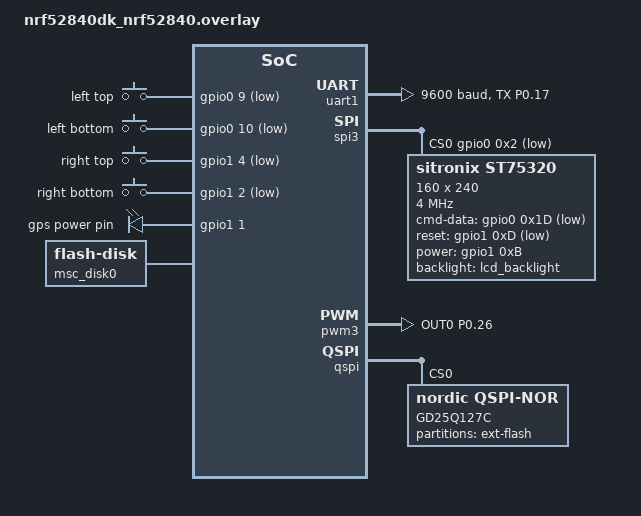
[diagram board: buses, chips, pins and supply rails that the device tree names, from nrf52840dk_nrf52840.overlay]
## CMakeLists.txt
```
# SPDX-License-Identifier: Apache-2.0

cmake_minimum_required(VERSION 3.13.1)

list(APPEND ZEPHYR_EXTRA_MODULES
	${CMAKE_CURRENT_SOURCE_DIR}/src/drivers/st75320
	${CMAKE_CURRENT_SOURCE_DIR}/src/drivers/poll_btns
)

find_package(Zephyr REQUIRED HINTS $ENV{ZEPHYR_BASE})
project(fw)

target_sources(app PRIVATE
	src/main.c
	src/draw_menu.c
	src/demo.c
	src/fw_upgrade.c
	src/decode_utils.c
)

add_custom_target(decode ALL
	COMMAND make
	WORKING_DIRECTORY ${CMAKE_CURRENT_SOURCE_DIR}/../../usbfw_decode
	COMMENT "Compiling usbfw_decode"
)

add_custom_target(jump ALL
	COMMAND CROSS_PREFIX=${CROSS_COMPILE} make
	WORKING_DIRECTORY ${CMAKE_CURRENT_SOURCE_DIR}/../jump
	COMMENT "Compiling jump"
)

add_custom_target(usb_fw ALL
	COMMAND ${CMAKE_CURRENT_SOURCE_DIR}/../../usbfw_decode/decode -e -i ${CMAKE_CURRENT_BINARY_DIR}/zephyr/zephyr.bin -o ${CMAKE_CURRENT_BINARY_DIR}/zephyr/zephyr.bin
	WORKING_DIRECTORY ${CMAKE_CURRENT_SOURCE_DIR}
	DEPENDS ${CMAKE_CURRENT_BINARY_DIR}/zephyr/zephyr.bin
	COMMENT "Making usb fw"
)

add_dependencies(usb_fw decode)
```

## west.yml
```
manifest:
  remotes:
    - name: nrfconnect
      url-base: https://github.com/nrfconnect

  # Please add items below based on alphabetical order.
  # These dependencies may need updating if new features are added to the firmware.
  projects:
    - name: sdk-nrf
      remote: nrfconnect
      revision: v2.4-branch
      path: nrf
      import: true
  self:
    path: fw
```

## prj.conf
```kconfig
CONFIG_LOG=y

CONFIG_USE_DT_CODE_PARTITION=y

CONFIG_GPIO=y

CONFIG_PINCTRL=y

CONFIG_HEAP_MEM_POOL_SIZE=16384
CONFIG_MAIN_STACK_SIZE=4096
CONFIG_MINIMAL_LIBC_MALLOC_ARENA_SIZE=4096

CONFIG_DISPLAY=y
CONFIG_DISPLAY_LOG_LEVEL_ERR=y

CONFIG_ST75320=y

# for backlight
CONFIG_PWM=y

# graphic lib
CONFIG_LVGL=y
CONFIG_LV_COLOR_DEPTH_1=y
#CONFIG_LVGL_LOG_LEVEL_ERR=y
#CONFIG_LVGL_DPI=60

#CONFIG_LVGL_USE_THEME_MONO=y

#CONFIG_LVGL_USE_LABEL=y
#CONFIG_LVGL_USE_CONT=y
#CONFIG_LVGL_USE_BTN=y
#CONFIG_LVGL_USE_PAGE=y
#CONFIG_LVGL_USE_LIST=y
#CONFIG_LVGL_USE_GROUP=y
###

CONFIG_POLL_BTNS=y

# disk
CONFIG_FLASH=y

CONFIG_DISK_DRIVERS=y
CONFIG_DISK_DRIVER_FLASH=y

CONFIG_FLASH_MAP=y
CONFIG_DISK_ACCESS=y
CONFIG_FILE_SYSTEM=y
CONFIG_FAT_FILESYSTEM_ELM=y
CONFIG_FS_FATFS_LFN=y

# Assume the standard SPI NOR flash driver.  If the device uses
# another driver add an override configuration in boards/.
CONFIG_NORDIC_QSPI_NOR=y
CONFIG_NORDIC_QSPI_NOR_FLASH_LAYOUT_PAGE_SIZE=4096
CONFIG_NORDIC_QSPI_NOR_STACK_WRITE_BUFFER_SIZE=16
###

#USB related configs
#CONFIG_USB=y
CONFIG_USB_DEVICE_STACK=y
CONFIG_USB_DEVICE_PRODUCT="Zephyr MSC sample"
CONFIG_USB_DRIVER_LOG_LEVEL_ERR=y
CONFIG_USB_MASS_STORAGE=y
CONFIG_USB_DEVICE_LOG_LEVEL_ERR=y
CONFIG_USB_MASS_STORAGE_LOG_LEVEL_ERR=y
CONFIG_MASS_STORAGE_DISK_NAME="NAND"
```

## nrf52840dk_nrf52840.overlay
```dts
/ {
	chosen {
		zephyr,display = &st75320;
	};

	buttons {
		compatible = "gpio-keys";
		btn0: key3 {
			gpios = <&gpio0 9 (GPIO_PULL_UP | GPIO_ACTIVE_LOW)>;
			label = "left top";
		};
		btn1: key1 {
			gpios = <&gpio0 10 (GPIO_PULL_UP | GPIO_ACTIVE_LOW)>;
			label = "left bottom";
		};
		btn2: key {
			gpios = <&gpio1 4 (GPIO_PULL_UP | GPIO_ACTIVE_LOW)>;
			label = "right top";
		};
		btn3: key4 {
			gpios = <&gpio1 2 (GPIO_PULL_UP | GPIO_ACTIVE_LOW)>;
			label = "right bottom";
		};
	};

	power_en_pins {
		compatible = "gpio-leds";
		gps_pwr: gps_pwr {
			gpios = <&gpio1 1 GPIO_ACTIVE_HIGH>;
			label = "gps power pin";
		};
	};

	pwmleds {
	/*	compatible = "pwm-leds";*/
		lcd_backlight: lcd_backlight {
			pwms = <&pwm3 0 PWM_HZ(10000) PWM_POLARITY_NORMAL>;
		};
	};

	aliases {
		/delete-property/ spi-flash0;
	};

	msc_disk0 {
		compatible = "zephyr,flash-disk";
		partition = <&ext_flash>;
		disk-name = "NAND";
		/* cache-size == page erase size */
		cache-size = <4096>;
	};


};

&pinctrl {
	uart0_default: uart0_default {
		group1 {
			psels = <NRF_PSEL(UART_TX, 1, 7)>;
		};
	};

	uart0_sleep: uart0_sleep {
		group1 {
			psels = <NRF_PSEL(UART_TX, 1, 7)>;
			low-power-enable;
		};
	};

	uart1_default: uart1_default {
		group1 {
			psels = <NRF_PSEL(UART_RX, 0, 15)>;
			psels = <NRF_PSEL(UART_TX, 0, 17)>;
		};
	};

	spi3_default: spi3_default {
		group1 {
			psels = <NRF_PSEL(SPIM_SCK, 1, 15)>,
				<NRF_PSEL(SPIM_MISO, 1, 14)>,
				<NRF_PSEL(SPIM_MOSI, 0, 31)>;
		};
	};

	spi3_sleep: spi3_sleep {
		group1 {
			psels = <NRF_PSEL(SPIM_SCK, 1, 15)>,
				<NRF_PSEL(SPIM_MISO, 1, 14)>,
				<NRF_PSEL(SPIM_MOSI, 1, 31)>;
			low-power-enable;
		};
	};

	pwm3_default: pwm3_default {
		group1 {
			psels = <NRF_PSEL(PWM_OUT0, 0, 26)>;
			nordic,invert;
		};
	};

	pwm3_sleep: pwm3_sleep {
		group1 {
			psels = <NRF_PSEL(PWM_OUT0, 0, 26)>;
			low-power-enable;
		};
	};

	qspi_default: qspi_default {
		group1 {
			psels = <NRF_PSEL(QSPI_SCK, 0, 0x14)>,

				<NRF_PSEL(QSPI_IO0, 0, 0x16)>,
				<NRF_PSEL(QSPI_IO1, 0, 0x18)>,
				<NRF_PSEL(QSPI_IO2, 0, 0x10)>,
				<NRF_PSEL(QSPI_IO3, 0, 0x17)>,

				<NRF_PSEL(QSPI_CSN, 1, 0)>;
		};
	};

	qspi_sleep: qspi_sleep {
		group1 {
			psels = <NRF_PSEL(QSPI_SCK, 0, 0x14)>,

				<NRF_PSEL(QSPI_IO0, 0, 0x16)>,
				<NRF_PSEL(QSPI_IO1, 0, 0x18)>,
				<NRF_PSEL(QSPI_IO2, 0, 0x10)>,
				<NRF_PSEL(QSPI_IO3, 0, 0x17)>;

			low-power-enable;
		};
		group2 {
			psels = <NRF_PSEL(QSPI_CSN, 1, 0)>;
			low-power-enable;
			bias-pull-up;
		};
	};
};

/*
&uart0 {
	compatible = "nordic,nrf-uart";
	current-speed = <115200>;
	status = "okay";
	tx-pin = <39>;
};
*/

&uart1 {
	compatible = "nordic,nrf-uarte";
	current-speed = <9600>;
	status = "okay";
	pinctrl-0 = <&uart1_default>;
};

&spi3 {
/*
	status = "okay";

	sck-pin = <0x2F>;
	miso-pin = <0xFF>;
	mosi-pin = <0x1F>;
*/

	cs-gpios = <&gpio0 0x2 GPIO_ACTIVE_LOW>;

	st75320: st75320@0 {
		compatible = "sitronix,st75320";
		label = "ST75320";
		spi-max-frequency = <4000000>;
		reg = <0>;

		cmd-data-gpios = <&gpio0 0x1D GPIO_ACTIVE_LOW>;
		reset-gpios = <&gpio1 0xD GPIO_ACTIVE_LOW>;
		power-gpios = <&gpio1 0xB GPIO_ACTIVE_HIGH>;

		backlight = <&lcd_backlight>;

		width = <160>;
		height = <240>;
		x-offset = <80>;
		y-offset = <0>;
	};
};

&pwm3 {
	status = "okay";
	pinctrl-0 = <&pwm3_default>;
	pinctrl-1 = <&pwm3_sleep>;
	pinctrl-names = "default", "sleep";
};

/*
&pwm3 {
	status = "okay";
	ch0-pin = <0x1A>;
};
*/

&qspi {
/*
	status = "okay";

	sck-pin = <0x14>;
	io-pins = <0x16>, <0x18>, <0x10>, <0x17>;
	csn-pins = <0x20>;
*/

	/delete-node/mx25r6435f@0;

	gd25q127c@0 {
		compatible = "nordic,qspi-nor";
		reg = <0>;
		writeoc = "pp4o";
		readoc = "read4io";
		sck-frequency = <8000000>;
		label = "GD25Q127C";
		jedec-id = [c8 40 18];

		sfdp-bfp = [
			e5 20 f1 ff  ff ff ff 07  44 eb 08 6b  08 3b 42 bb
			ee ff ff ff  ff ff 00 ff  ff ff 00 eb  0c 20 0f 52
			10 d8 00 ff
		];

		size = <0x8000000>; /* in bits */

		has-dpd;
		t-enter-dpd = <10000>;
		t-exit-dpd = <35000>;

		partitions {
			compatible = "fixed-partitions";
			#address-cells = <1>;
			#size-cells = <1>;

			ext_flash: partition@380000 {
				label = "ext-flash";
				reg = <0x00380000 0x00C80000>;
			};
		};
	};
};

&flash0 {
	partitions {
		/delete-node/partition@0;
		/delete-node/partition@c000;
		/delete-node/partition@73000;
		/delete-node/partition@82000;
		/delete-node/partition@da000;
		/delete-node/partition@f8000;

		partition@0 {
			label = "mbr";
			reg = < 0x0 0x1000 >;
		};
		partition@1000 {
			label = "softdevice";
			reg = < 0x1000 0x30000 >;
		};
		slot0_partition: partition@31000 {
			label = "image-0";
			reg = < 0x31000 0x62000 >;
		};
		storage_partition: partition@93000 {
			label = "storage";
			reg = < 0x93000 0x2000 >;
		};
		slot1_partition: partition@95000 {
			label = "image-1";
			reg = < 0x95000 0x62000 >;
		};
		partition@f7000 {
			label = "hw-ver";
			reg = < 0xf7000 0x1000 >;
		};
		boot_partition: partition@f8000 {
			label = "bootloader";
			reg = < 0xf8000 0x6000 >;
		};
		partition@fe000 {
			label = "boot-settings";
			reg = < 0xfe000 0x1000 >;
		};
		partition@ff000 {
			label = "boot-settings-backup";
			reg = < 0xff000 0x1000 >;
		};
	};
};
```

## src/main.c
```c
/*
 * Copyright (c) 2016 Intel Corporation
 *
 * SPDX-License-Identifier: Apache-2.0
 */

#include <string.h>

#include <zephyr/kernel.h>
#include <zephyr/drivers/gpio.h>
#include <zephyr/drivers/display.h>
#include <lvgl.h>



#define LOG_LEVEL /*CONFIG_LOG_DEFAULT_LEVEL*/5
#include <zephyr/logging/log.h>
LOG_MODULE_REGISTER(app);

#define PRIORITY 6

K_THREAD_STACK_DEFINE(gui_refresh_thread_stack_area, 8192);
static struct k_thread gui_refresh_thread_data;
K_MUTEX_DEFINE(lvgl_mutex); //lock when lv_ fuction called from other thread

void gui_refresh_thread(void *dummy1, void *dummy2, void *dummy3)
{
	ARG_UNUSED(dummy1);
	ARG_UNUSED(dummy2);
	ARG_UNUSED(dummy3);

	while (1) {
		k_mutex_lock(&lvgl_mutex, K_FOREVER);
		lv_task_handler();
		k_mutex_unlock(&lvgl_mutex);

		k_sleep(K_MSEC(10));
	}
}

lv_obj_t *upgr_lbl;
void uprg_progress(const char *text)
{
	k_mutex_lock(&lvgl_mutex, K_FOREVER);
	lv_label_set_text(upgr_lbl, text);
	k_mutex_unlock(&lvgl_mutex);
}

void main(void)
{
	LOG_INF("hello world");

	const struct device *display_dev;
	display_dev = DEVICE_DT_GET(DT_CHOSEN(zephyr_display));
	if (!device_is_ready(display_dev)) {
		LOG_ERR("Device not ready, aborting test");
		return;
	}

	display_blanking_off(display_dev);
	display_set_brightness(display_dev, 1 << 4); // 0-7 levels
	display_set_contrast(display_dev, 3 << 4); // 0-7 levels

	k_thread_create(&gui_refresh_thread_data, gui_refresh_thread_stack_area, K_THREAD_STACK_SIZEOF(gui_refresh_thread_stack_area),
				gui_refresh_thread, NULL, NULL, NULL, PRIORITY, 0, K_FOREVER);
	k_thread_name_set(&gui_refresh_thread_data, "gui_refresh");

	k_thread_start(&gui_refresh_thread_data);

	//extern void draw_menu(void);
	//draw_menu();

	// gps power en
	struct gpio_dt_spec gps_pwr = GPIO_DT_SPEC_GET_OR(DT_NODELABEL(gps_pwr), gpios, {0});
	gpio_pin_configure_dt(&gps_pwr, GPIO_OUTPUT_INACTIVE);
	gpio_pin_set_dt(&gps_pwr, 1);

	upgr_lbl = lv_label_create(lv_scr_act());
	lv_label_set_text(upgr_lbl, "hello world");
	//lv_obj_set_pos(upgr_lbl, 0, LV_VER_RES - 10);

	extern void fw_upgrade_task_start(void);
	fw_upgrade_task_start();


	//extern void start_demo(void);
	//start_demo();
}
```

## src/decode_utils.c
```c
../../../usbfw_decode/decode_utils.c
```

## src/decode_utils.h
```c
../../../usbfw_decode/decode_utils.h
```

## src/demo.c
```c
#include <zephyr/kernel.h>
#include <lvgl.h>

/* size of stack area used by each thread */
#define STACKSIZE 1024
/* scheduling priority used by each thread */
#define PRIORITY 7

K_THREAD_STACK_DEFINE(threadA_stack_area, STACKSIZE);
static struct k_thread threadA_data;

K_THREAD_STACK_DEFINE(threadB_stack_area, STACKSIZE);
static struct k_thread threadB_data;

void label_move(char *text, lv_coord_t sx, lv_coord_t sy, int8_t sdx, int8_t sdy, uint32_t sleep_time)
{
	lv_coord_t x = sx;
	lv_coord_t y = sy;

	int8_t dx = sdx;
	int8_t dy = sdy;

	lv_obj_t *label = lv_label_create(lv_scr_act());
	lv_label_set_text(label, text);

	while (1) {

		lv_obj_set_pos(label, x, y);

		if ((int16_t)x + dx < 0 || (int16_t)x + dx > (LV_HOR_RES - lv_obj_get_width(label)))
			dx = -dx;
		if ((int16_t)y + dy < 0 || (int16_t)y + dy > (LV_VER_RES - lv_obj_get_height(label)))
			dy = -dy;

		x += dx;
		y += dy;

		k_sleep(K_MSEC(sleep_time));
	}
}

void threadA(void *dummy1, void *dummy2, void *dummy3)
{
	ARG_UNUSED(dummy1);
	ARG_UNUSED(dummy2);
	ARG_UNUSED(dummy3);

	label_move("hello", 0, 0, 1, 1, 150);
}

void threadB(void *dummy1, void *dummy2, void *dummy3)
{
	ARG_UNUSED(dummy1);
	ARG_UNUSED(dummy2);
	ARG_UNUSED(dummy3);

	label_move("world", 0, 200, -1, -1, 150);
}

void start_demo(void)
{
	k_thread_create(&threadA_data, threadA_stack_area, K_THREAD_STACK_SIZEOF(threadA_stack_area), threadA, NULL, NULL, NULL, PRIORITY, 0, K_FOREVER);
	k_thread_name_set(&threadA_data, "thread_a");

	k_thread_create(&threadB_data, threadB_stack_area, K_THREAD_STACK_SIZEOF(threadB_stack_area), threadB, NULL, NULL, NULL, PRIORITY, 0, K_FOREVER);
	k_thread_name_set(&threadB_data, "thread_b");

	k_thread_start(&threadA_data);
	k_thread_start(&threadB_data);
}
```

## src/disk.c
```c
#include <zephyr.h>
#include <devicetree.h>
#include <logging/log.h>
#include <fs/fs.h>
#include <storage/flash_map.h>
#include <ff.h>

LOG_MODULE_REGISTER(setup_disk, CONFIG_FS_LOG_LEVEL);

static struct fs_mount_t fs_mnt;

static int setup_flash(struct fs_mount_t *mnt)
{
	int rc = 0;
	unsigned int id;
	const struct flash_area *pfa;

	mnt->storage_dev = (void *)FLASH_AREA_ID(ext_flash);
	id = (uintptr_t)mnt->storage_dev;

	rc = flash_area_open(id, &pfa);
	LOG_INF("area %u at 0x%x on %s for %u bytes",
		id,
		(unsigned int)pfa->fa_off,
		pfa->fa_dev_name,
		(unsigned int)pfa->fa_size);

	if (rc < 0)
		flash_area_close(pfa);

	return rc;
}

static int mount_app_fs(struct fs_mount_t *mnt)
{
	int rc;

	static FATFS fat_fs;

	mnt->type = FS_FATFS;
	mnt->fs_data = &fat_fs;
	mnt->mnt_point = "/NAND:";

	rc = fs_mount(mnt);

	return rc;
}

void setup_disk(void)
{
	struct fs_mount_t *mp = &fs_mnt;
	struct fs_dir_t dir;
	struct fs_statvfs sbuf;
	int rc;

	fs_dir_t_init(&dir);

	rc = setup_flash(mp);
	if (rc < 0) {
		LOG_ERR("Failed to setup flash area");
		return;
	}

	rc = mount_app_fs(mp);
	if (rc < 0) {
		LOG_ERR("Failed to mount filesystem");
		return;
	}

	/* Allow log messages to flush to avoid interleaved output */
	k_sleep(K_MSEC(50));

	LOG_INF("Mount \"%s\": %d", fs_mnt.mnt_point, rc);

	rc = fs_statvfs(mp->mnt_point, &sbuf);
	if (rc < 0) {
		LOG_ERR("FAIL: statvfs: %d\n", rc);
		return;
	}

	LOG_INF("\"%s\": bsize = %lu ; frsize = %lu ; blocks = %lu ; bfree = %lu",
		mp->mnt_point,
		sbuf.f_bsize, sbuf.f_frsize,
		sbuf.f_blocks, sbuf.f_bfree);




	rc = fs_opendir(&dir, mp->mnt_point);
	printk("%s opendir: %d\n", mp->mnt_point, rc);

	if (rc < 0)
		LOG_ERR("Failed to open directory");

	while (rc >= 0) {
		struct fs_dirent ent = { 0 };

		rc = fs_readdir(&dir, &ent);
		if (rc < 0) {
			LOG_ERR("Failed to read directory entries");
			break;
		}
		if (ent.name[0] == 0) {
			printk("End of files\n");
			break;
		}
		printk("  %c %u %s\n",
		       (ent.type == FS_DIR_ENTRY_FILE) ? 'F' : 'D',
		       ent.size,
		       ent.name);
	}

	(void)fs_closedir(&dir);

	return;
}
```

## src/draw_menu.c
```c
#include <zephyr/kernel.h>
#include <zephyr/device.h> // device_get_binding()
#include <lvgl.h>

#define LOG_LEVEL CONFIG_LOG_DEFAULT_LEVEL
#include <zephyr/logging/log.h>
LOG_MODULE_REGISTER(menu);

const char *items[] = {
	"item1",
	"item2",
	"item3",
	"item4",
	"item5",
	"item6",
};

static lv_style_t menu_btn_style;

void menu_btn_event_cb(lv_obj_t * obj, lv_event_t event)
{
	if (event.code == LV_EVENT_PRESSED)
		LOG_INF("btn event pressed");
}

void draw_menu(void)
{
	lv_obj_t *list = lv_list_create(lv_scr_act());
	lv_obj_set_width(list, LV_HOR_RES);
	lv_obj_set_height(list, LV_VER_RES - 20);

	lv_group_t * group = lv_group_create();
	lv_group_add_obj(group, list);

	const struct device *poll_btn_dev = device_get_binding("POLL_BTNS");
	lv_indev_t *indev = (lv_indev_t *)*(size_t *)(poll_btn_dev->data);
	lv_indev_set_group(indev, group);

	lv_style_init(&menu_btn_style);
	lv_style_set_border_width(&menu_btn_style, 0); //???

	lv_style_set_border_width(&menu_btn_style, 1); //???
	lv_style_set_border_side(&menu_btn_style, LV_BORDER_SIDE_FULL);

	lv_style_set_text_decor(&menu_btn_style, LV_TEXT_DECOR_NONE);

	for (unsigned int i = 0; i < ARRAY_SIZE(items); i++) {
		lv_obj_t *btn = lv_list_add_btn(list, NULL, items[i]);
		lv_obj_add_style(btn, LV_PART_MAIN, &menu_btn_style);

		//lv_obj_set_event_cb(btn, menu_btn_event_cb); //???
	}
}
```

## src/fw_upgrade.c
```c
#include <stdio.h>
#include <stdlib.h>
#include <zephyr/kernel.h>
#include <zephyr/logging/log.h>
#include <zephyr/storage/flash_map.h>
#include <zephyr/usb/usb_device.h>
#include <ff.h>
#include <zephyr/fs/fs.h>
//#include <sys/crc.h> todo: need to use system crc func
#include <zephyr/sys/reboot.h>

extern void uprg_progress(const char *text);

#include "decode_utils.h"
#include "nrf_dfu_types.h"

LOG_MODULE_REGISTER(fw_upgrade, CONFIG_FS_LOG_LEVEL);

#define UPGR_DIR "Upgrade"
#define UPGR_FILE_SIGN "BC200_Upgrade"

#define PRIORITY 7

K_THREAD_STACK_DEFINE(fw_upgrade_thread_stack_area, 4096);
static struct k_thread fw_upgrade_thread_data;
static k_tid_t fw_upgrade_tid;
static struct fs_mount_t fs_mnt;

static uint32_t crc32_compute(uint8_t const * p_data, uint32_t size, uint32_t const * p_crc)
{
	uint32_t crc;

	crc = (p_crc == NULL) ? 0xFFFFFFFF : ~(*p_crc);
	for (uint32_t i = 0; i < size; i++)
	{
		crc = crc ^ p_data[i];
		for (uint32_t j = 8; j > 0; j--)
		{
			crc = (crc >> 1) ^ (0xEDB88320U & ((crc & 1) ? 0xFFFFFFFF : 0));
		}
	}
	return ~crc;
}

static int setup_flash(struct fs_mount_t *mnt)
{
	mnt->storage_dev = (void *)FLASH_AREA_ID(ext_flash);

#if 0
	//check partition, may be not needed

	int rc = 0;
	unsigned int id;
	const struct flash_area *pfa;

	id = (uintptr_t)mnt->storage_dev;

	rc = flash_area_open(id, &pfa);
	LOG_INF("area %u at 0x%x on %s for %u bytes",
		id,
		(unsigned int)pfa->fa_off,
		pfa->fa_dev_name,
		(unsigned int)pfa->fa_size);

	if (rc < 0)
		flash_area_close(pfa);
#endif

	return 0;
}

static void fs_init(struct fs_mount_t *mnt)
{
	static FATFS fat_fs;

	mnt->type = FS_FATFS;
	mnt->fs_data = &fat_fs;
	mnt->mnt_point = "/NAND:";
}

static int upgrade(const char *file)
{
	int ret;
	uint8_t buf[ENCODED_BLOCK_SIZE];

	// encode fw and copy it to bank_1
	unsigned short diff = START_DIFF;

	struct fs_file_t f;
	fs_file_t_init(&f);

	ret = fs_open(&f, file, FS_O_READ);
	if (ret < 0)
		return -1;

	const struct flash_area *img1_fa;
	flash_area_open(FLASH_AREA_ID(image_1), &img1_fa);

	flash_area_erase(img1_fa, 0, img1_fa->fa_size);

	ssize_t target_file_len = 0;
	uint32_t crc32 = 0;

	ssize_t len;
	while ((len = fs_read(&f, buf, ENCODED_BLOCK_SIZE)) > 0) {
		decode_block(&diff, buf, len);

		flash_area_write(img1_fa, target_file_len, buf, len - 4);

		target_file_len += len - 4; // 4 - block cksum

		crc32 = crc32_compute(buf, len - 4, &crc32);

		char uprg_buf[64];
		sprintf(uprg_buf, "Loading %zu bytes\n", target_file_len);
		uprg_progress(uprg_buf);
	}

	flash_area_close(img1_fa);
	fs_close(&f);

	// calc all crc
	const struct flash_area *bs_fa;
	flash_area_open(FLASH_AREA_ID(boot_settings), &bs_fa);

	nrf_dfu_settings_t bs;
	flash_area_read(bs_fa, 0, &bs, sizeof(nrf_dfu_settings_t));

	bs.bank_1.image_size = target_file_len;
	bs.bank_1.image_crc = crc32;
	bs.bank_1.bank_code = NRF_DFU_BANK_VALID_APP;
	bs.crc = crc32_compute((uint8_t *)&bs + 4, DFU_SETTINGS_INIT_COMMAND_OFFSET - 4, NULL);

	bs.boot_validation_app.type = VALIDATE_CRC;
	*(uint32_t *)&bs.boot_validation_app.bytes = crc32;
	bs.boot_validation_crc = crc32_compute((const uint8_t *)&bs.boot_validation_softdevice,
											DFU_SETTINGS_BOOT_VALIDATION_SIZE - 4, NULL);

	flash_area_erase(bs_fa, 0, bs_fa->fa_size);
	flash_area_write(bs_fa, 0, &bs, sizeof(nrf_dfu_settings_t));

	flash_area_close(bs_fa);

	return 0;
}

char *find_upgrade_file(struct fs_mount_t *mnt)
{
	int ret;

	struct fs_dir_t dir;
	fs_dir_t_init(&dir);

	char buf[MAX_FILE_NAME];
	sprintf(buf, "%s/"UPGR_DIR,  mnt->mnt_point);

	ret = fs_opendir(&dir, buf);
	if (ret < 0)
		LOG_ERR("Failed to open directory");

	struct fs_dirent ent = { 0 };

	while (ret >= 0) {
		ret = fs_readdir(&dir, &ent);
		if (ret < 0) {
			LOG_ERR("Failed to read directory entries");
			break;
		}
		if (ent.name[0] == 0)
			break;
		if (strstr(ent.name, UPGR_FILE_SIGN) && ent.type == FS_DIR_ENTRY_FILE)
			break;
	}

	char *file = NULL;
	if (*ent.name) {
		file = malloc(strlen(mnt->mnt_point) + strlen(UPGR_DIR) + strlen(ent.name) + 2 + 1);
		sprintf(file, "%s/"UPGR_DIR"/%s", mnt->mnt_point, ent.name);
	}

	fs_closedir(&dir);

	return file;
}

static int check_upgrade(void)
{
	int ret;

	ret = fs_mount(&fs_mnt);
	if (ret < 0) {
		LOG_ERR("Failed to mount filesystem");
		return -1;
	}

	ret = -1;
	char *f = find_upgrade_file(&fs_mnt);
	if (f) {
		LOG_INF("upgrade file: %s", f);

		ret = upgrade(f);
		if (ret == 0)
			fs_unlink(f);

		free(f);
	}

	fs_unmount(&fs_mnt);

	return ret;
}

static void usb_status_cb(enum usb_dc_status_code cb_status, const uint8_t *param)
{
	switch (cb_status) {
		case USB_DC_DISCONNECTED:
			LOG_INF("USB device disconnected");
			uprg_progress("USB disconnected");

			k_wakeup(fw_upgrade_tid);
		break;
		case USB_DC_CONNECTED:
			LOG_INF("USB device connected!!!");
			uprg_progress("USB connected!\n");
		break;
		default:
		break;
	}
}

#if 0
void setup_disk(void)
{
	struct fs_mount_t *mp = &fs_mnt;
	struct fs_statvfs sbuf;
	int rc;

	rc = setup_flash(mp);
	if (rc < 0) {
		LOG_ERR("Failed to setup flash area");
		return;
	}

	/* Allow log messages to flush to avoid interleaved output */
	k_sleep(K_MSEC(50));

	LOG_INF("Mount \"%s\": %d", fs_mnt.mnt_point, rc);

	rc = fs_statvfs(mp->mnt_point, &sbuf);
	if (rc < 0) {
		LOG_ERR("FAIL: statvfs: %d\n", rc);
		return;
	}

	LOG_INF("\"%s\": bsize = %lu ; frsize = %lu ; blocks = %lu ; bfree = %lu",
		mp->mnt_point,
		sbuf.f_bsize, sbuf.f_frsize,
		sbuf.f_blocks, sbuf.f_bfree);

	return;
}
#endif


void fw_upgrade_thread(void *dummy1, void *dummy2, void *dummy3)
{
	ARG_UNUSED(dummy1);
	ARG_UNUSED(dummy2);
	ARG_UNUSED(dummy3);

	int ret;

	ret = setup_flash(&fs_mnt);
	if (ret < 0) {
		LOG_ERR("Failed to setup flash area");
		return;
	}

	ret = usb_enable(usb_status_cb);
	if (ret != 0) {
		LOG_ERR("Failed to enable USB");
		return;
	}

	LOG_INF("The device is put in USB mass storage mode.");

	fs_init(&fs_mnt);

	while (1) {
		k_sleep(K_FOREVER);

		if (check_upgrade() == 0) {
			printk("reboot\n");
			sys_reboot(SYS_REBOOT_WARM);
		}
	}
}

void fw_upgrade_task_start(void)
{
	fw_upgrade_tid = k_thread_create(&fw_upgrade_thread_data, fw_upgrade_thread_stack_area, K_THREAD_STACK_SIZEOF(fw_upgrade_thread_stack_area),
				fw_upgrade_thread, NULL, NULL, NULL, PRIORITY, 0, K_FOREVER);
	k_thread_name_set(&fw_upgrade_thread_data, "fw_upgrade");

	k_thread_start(&fw_upgrade_thread_data);
}
```

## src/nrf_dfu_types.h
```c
/**
 * Copyright (c) 2016 - 2020, Nordic Semiconductor ASA
 *
 * All rights reserved.
 *
 * Redistribution and use in source and binary forms, with or without modification,
 * are permitted provided that the following conditions are met:
 *
 * 1. Redistributions of source code must retain the above copyright notice, this
 *    list of conditions and the following disclaimer.
 *
 * 2. Redistributions in binary form, except as embedded into a Nordic
 *    Semiconductor ASA integrated circuit in a product or a software update for
 *    such product, must reproduce the above copyright notice, this list of
 *    conditions and the following disclaimer in the documentation and/or other
 *    materials provided with the distribution.
 *
 * 3. Neither the name of Nordic Semiconductor ASA nor the names of its
 *    contributors may be used to endorse or promote products derived from this
 *    software without specific prior written permission.
 *
 * 4. This software, with or without modification, must only be used with a
 *    Nordic Semiconductor ASA integrated circuit.
 *
 * 5. Any software provided in binary form under this license must not be reverse
 *    engineered, decompiled, modified and/or disassembled.
 *
 * THIS SOFTWARE IS PROVIDED BY NORDIC SEMICONDUCTOR ASA "AS IS" AND ANY EXPRESS
 * OR IMPLIED WARRANTIES, INCLUDING, BUT NOT LIMITED TO, THE IMPLIED WARRANTIES
 * OF MERCHANTABILITY, NONINFRINGEMENT, AND FITNESS FOR A PARTICULAR PURPOSE ARE
 * DISCLAIMED. IN NO EVENT SHALL NORDIC SEMICONDUCTOR ASA OR CONTRIBUTORS BE
 * LIABLE FOR ANY DIRECT, INDIRECT, INCIDENTAL, SPECIAL, EXEMPLARY, OR
 * CONSEQUENTIAL DAMAGES (INCLUDING, BUT NOT LIMITED TO, PROCUREMENT OF SUBSTITUTE
 * GOODS OR SERVICES; LOSS OF USE, DATA, OR PROFITS; OR BUSINESS INTERRUPTION)
 * HOWEVER CAUSED AND ON ANY THEORY OF LIABILITY, WHETHER IN CONTRACT, STRICT
 * LIABILITY, OR TORT (INCLUDING NEGLIGENCE OR OTHERWISE) ARISING IN ANY WAY OUT
 * OF THE USE OF THIS SOFTWARE, EVEN IF ADVISED OF THE POSSIBILITY OF SUCH DAMAGE.
 *
 */
/**@file
 *
 * @defgroup sdk_nrf_dfu_types DFU types
 * @{
 * @ingroup  nrf_dfu
 */

#ifndef NRF_DFU_TYPES_H__
#define NRF_DFU_TYPES_H__

#include <stdint.h>
#include <stddef.h>

#if 0

#include "sdk_common.h"
#include "nrf.h"
#include "nrf_mbr.h"
#include "app_util_platform.h"
#include "sdk_config.h"

#else

#define STATIC_ASSERT(args...)
#define ANON_UNIONS_ENABLE struct semicolon_swallower
#define ANON_UNIONS_DISABLE struct semicolon_swallower

#endif

#if defined(NRF_DFU_TRANSPORT_BLE) && NRF_DFU_TRANSPORT_BLE
#include "ble_gap.h"
#define SYSTEM_SERVICE_ATT_SIZE 8   /**< Size of the system service attribute length including CRC-16 at the end. */
#endif

#ifdef __cplusplus
extern "C" {
#endif


#define INIT_COMMAND_MAX_SIZE      512 /**< Maximum size of the init command stored in dfu_settings. */
#define INIT_COMMAND_MAX_SIZE_v1   256 /**< Maximum size of the init command in settings version 1. */

/** @brief  Size of a flash page. This value is used for calculating the size of the reserved
 *          flash space in the bootloader region.
 */
#if defined(NRF51)
    #define CODE_PAGE_SIZE            (PAGE_SIZE_IN_WORDS * sizeof(uint32_t))
#elif defined(NRF52_SERIES)
    #define CODE_PAGE_SIZE            (MBR_PAGE_SIZE_IN_WORDS * sizeof(uint32_t))
#else
    #error "Architecture not set."
#endif

/** @brief  Maximum size of a data object.*/
#if defined(NRF51)
    #define DATA_OBJECT_MAX_SIZE           (CODE_PAGE_SIZE * 4)
#elif defined(NRF52_SERIES) || defined (__SDK_DOXYGEN__)
    #define DATA_OBJECT_MAX_SIZE           (CODE_PAGE_SIZE)
#else
    #error "Architecture not set."
#endif

/** @brief  Page location of the bootloader settings address.
 */
#if defined  (NRF51)
    #define BOOTLOADER_SETTINGS_ADDRESS     (0x0003FC00UL)
#elif defined( NRF52810_XXAA )
    #define BOOTLOADER_SETTINGS_ADDRESS     (0x0002F000UL)
#elif defined( NRF52811_XXAA )
    #define BOOTLOADER_SETTINGS_ADDRESS     (0x0002F000UL)
#elif defined( NRF52820_XXAA )
    #define BOOTLOADER_SETTINGS_ADDRESS     (0x0003F000UL)
#elif defined( NRF52832_XXAA )
    #define BOOTLOADER_SETTINGS_ADDRESS     (0x0007F000UL)
#elif defined( NRF52833_XXAA )
    #define BOOTLOADER_SETTINGS_ADDRESS     (0x0007F000UL)
#elif defined(NRF52840_XXAA)
    #define BOOTLOADER_SETTINGS_ADDRESS     (0x000FF000UL)
#else
    #error No valid target set for BOOTLOADER_SETTINGS_ADDRESS.
#endif

#define BOOTLOADER_SETTINGS_PAGE_SIZE       (CODE_PAGE_SIZE)
#define NRF_MBR_PARAMS_PAGE_SIZE            (CODE_PAGE_SIZE)

/** @brief Page location of the MBR parameters page address.
 */
#if defined(NRF52840_XXAA) || defined(NRF52840_XXAA_ENGA)
    #define NRF_MBR_PARAMS_PAGE_ADDRESS         (0x000FE000UL)
#elif defined(NRF52832_XXAA)
    #define NRF_MBR_PARAMS_PAGE_ADDRESS         (0x0007E000UL)
#elif defined(NRF52833_XXAA)
    #define NRF_MBR_PARAMS_PAGE_ADDRESS         (0x0007E000UL)
#elif defined(NRF52810_XXAA)
    #define NRF_MBR_PARAMS_PAGE_ADDRESS         (0x0002E000UL)
#elif defined(NRF52811_XXAA)
    #define NRF_MBR_PARAMS_PAGE_ADDRESS         (0x0002E000UL)
#elif defined(NRF52820_XXAA)
    #define NRF_MBR_PARAMS_PAGE_ADDRESS         (0x0003E000UL)
#endif

#define BOOTLOADER_SETTINGS_BACKUP_ADDRESS NRF_MBR_PARAMS_PAGE_ADDRESS


#ifndef NRF_DFU_APP_DATA_AREA_SIZE
#define NRF_DFU_APP_DATA_AREA_SIZE (CODE_PAGE_SIZE * 3)
#endif

STATIC_ASSERT((NRF_DFU_APP_DATA_AREA_SIZE % CODE_PAGE_SIZE) == 0, "NRF_DFU_APP_DATA_AREA_SIZE must be a multiple of the flash page size.");

#define DFU_APP_DATA_RESERVED      NRF_DFU_APP_DATA_AREA_SIZE // For backward compatibility with 15.0.0.

/** @brief Total size of the region between the SoftDevice and the bootloader.
 */
#define DFU_REGION_END(bootloader_start_addr) ((bootloader_start_addr) - (NRF_DFU_APP_DATA_AREA_SIZE))

#if defined(BLE_STACK_SUPPORT_REQD) || defined(ANT_STACK_SUPPORT_REQD)
#define DFU_REGION_START                    (nrf_dfu_bank0_start_addr())
#else
#define DFU_REGION_START                    (MBR_SIZE)
#endif

#define DFU_REGION_TOTAL_SIZE               ((DFU_REGION_END) - (DFU_REGION_START))

#define NRF_DFU_CURRENT_BANK_0 0x00
#define NRF_DFU_CURRENT_BANK_1 0x01

#define NRF_DFU_BANK_LAYOUT_DUAL   0x00
#define NRF_DFU_BANK_LAYOUT_SINGLE 0x01

/** @brief DFU bank state codes.
 *
 * @details The DFU bank state indicates the content of a bank:
 *          A valid image of a certain type or an invalid image.
 */

#define NRF_DFU_BANK_INVALID         0x00 /**< Invalid image. */
#define NRF_DFU_BANK_VALID_APP       0x01 /**< Valid application. */
#define NRF_DFU_BANK_VALID_SD        0xA5 /**< Valid SoftDevice. */
#define NRF_DFU_BANK_VALID_BL        0xAA /**< Valid bootloader. */
#define NRF_DFU_BANK_VALID_SD_BL     0xAC /**< Valid SoftDevice and bootloader. */
#define NRF_DFU_BANK_VALID_EXT_APP   0xB1 /**< Valid application designated for a remote node. */

/** @brief Description of a single bank. */
#pragma pack(4)
typedef struct
{
    uint32_t                image_size;         /**< Size of the image in the bank. */
    uint32_t                image_crc;          /**< CRC of the image. If set to 0, the CRC is ignored. */
    uint32_t                bank_code;          /**< Identifier code for the bank. */
} nrf_dfu_bank_t;

/**@brief DFU progress.
 *
 * Be aware of the difference between objects and firmware images. A firmware image consists of multiple objects, each of a maximum size @ref DATA_OBJECT_MAX_SIZE.
 *
 * @note The union inside this struct is cleared when CREATE_OBJECT of command type is executed, and when there is a valid post-validation.
 *       In DFU activation (after reset) the @ref dfu_progress_t::update_start_address will be used in case of a SD/SD+BL update.
 */
ANON_UNIONS_ENABLE;
typedef struct
{
    uint32_t command_size;              /**< The size of the current init command stored in the DFU settings. */
    uint32_t command_offset;            /**< The offset of the currently received init command data. The offset will increase as the init command is received. */
    uint32_t command_crc;               /**< The calculated CRC of the init command (calculated after the transfer is completed). */
    uint32_t data_object_size;          /**< The size of the last object created. Note that this size is not the size of the whole firmware image.*/
    union
    {
        struct
        {
            uint32_t firmware_image_crc;        /**< CRC value of the current firmware (continuously calculated as data is received). */
            uint32_t firmware_image_crc_last;   /**< The CRC of the last executed object. */
            uint32_t firmware_image_offset;     /**< The offset of the current firmware image being transferred. Note that this offset is the offset in the entire firmware image and not only the current object. */
            uint32_t firmware_image_offset_last;/**< The offset of the last executed object from the start of the firmware image. */
        };
        struct
        {
            uint32_t update_start_address;      /**< Value indicating the start address of the new firmware (before copy). It's always used, but it's most important for an SD/SD+BL update where the SD changes size or if the DFU process had a power loss when updating a SD with changed size. */
        };
    };
} dfu_progress_t;
ANON_UNIONS_DISABLE;

/** @brief Event types in the bootloader and DFU process. */
typedef enum
{
    NRF_DFU_EVT_DFU_INITIALIZED,        /**< Starting DFU. */
    NRF_DFU_EVT_TRANSPORT_ACTIVATED,    /**< Transport activated (e.g. BLE connected, USB plugged in). */
    NRF_DFU_EVT_TRANSPORT_DEACTIVATED,  /**< Transport deactivated (e.g. BLE disconnected, USB plugged out). */
    NRF_DFU_EVT_DFU_STARTED,            /**< DFU process started. */
    NRF_DFU_EVT_OBJECT_RECEIVED,        /**< A DFU data object has been received. */
    NRF_DFU_EVT_DFU_FAILED,             /**< DFU process has failed, been interrupted, or hung. */
    NRF_DFU_EVT_DFU_COMPLETED,          /**< DFU process completed. */
    NRF_DFU_EVT_DFU_ABORTED,            /**< DFU process aborted. */
} nrf_dfu_evt_type_t;

/**
 * @brief Function for notifying DFU state.
 */
typedef void (*nrf_dfu_observer_t)(nrf_dfu_evt_type_t notification);

#define NRF_DFU_PEER_DATA_LEN 64 /**< The length in bytes of nrf_dfu_peer_data_t expected by tools manipulating the settings page. Do not change without changing the settings page version. */
#define NRF_DFU_ADV_NAME_LEN  28 /**< The length in bytes of nrf_dfu_adv_name_t expected by tools manipulating the settings page. Do not change without changing the settings page version. */

#if defined(NRF_DFU_TRANSPORT_BLE) && NRF_DFU_TRANSPORT_BLE

typedef struct
{
    uint32_t            crc;                                    /**< CRC of the rest of the parameters in this struct. */
    ble_gap_id_key_t    ble_id;                                 /**< BLE GAP identity key of the device that initiated the DFU process. */
    ble_gap_enc_key_t   enc_key;                                /**< Encryption key structure containing encrypted diversifier and LTK for reestablishing the bond. */
    uint8_t             sys_serv_attr[SYSTEM_SERVICE_ATT_SIZE]; /**< System service attributes for restoring of Service Changed Indication setting in DFU mode. */
} nrf_dfu_peer_data_t;

typedef enum
{
    DFU_PEER_DATA_STATE_INVALID             = 0,
    DFU_PEER_DATA_STATE_INITIALIZED         = 1,
    DFU_PEER_DATA_STATE_WRITE_REQUESTED     = 2,
    DFU_PEER_DATA_STATE_WRITE_FINISHED      = 3,
    DFU_PEER_DATA_STATE_WRITE_FAILED        = 4,
} nrf_dfu_peer_data_state_t;

typedef struct
{
    uint32_t    crc;                            /**< CRC of the rest of the parameters in this struct. Calculated by the bootloader. */
    uint8_t     name[20];                       /**< New advertisement name to set. */
    uint32_t    len;                            /**< Length of the advertisement name. */
} nrf_dfu_adv_name_t;

typedef enum
{
    DFU_ADV_NAME_STATE_INVALID              = 0,
    DFU_ADV_NAME_STATE_INITIALIZED          = 1,
    DFU_ADV_NAME_STATE_WRITE_REQUESTED      = 2,
    DFU_ADV_NAME_STATE_WRITE_FINISHED       = 3,
    DFU_ADV_NAME_STATE_WRITE_FAILED         = 4,
} nrf_dfu_set_adv_name_state_t;

#else
typedef struct
{
    uint8_t dummy_data[NRF_DFU_PEER_DATA_LEN];
} nrf_dfu_peer_data_t;

typedef struct
{
    uint8_t dummy_data[NRF_DFU_ADV_NAME_LEN];
} nrf_dfu_adv_name_t;
#endif // NRF_DFU_TRANSPORT_BLE

STATIC_ASSERT(sizeof(nrf_dfu_peer_data_t) == NRF_DFU_PEER_DATA_LEN, "nrf_dfu_peer_data_t has unexpected length. This can cause incompatibility with tools.");
STATIC_ASSERT(sizeof(nrf_dfu_adv_name_t)  == NRF_DFU_ADV_NAME_LEN,  "nrf_dfu_adv_name_t has unexpected length. This can cause incompatibility with tools.");

#define SETTINGS_RESERVED_AREA_SIZE    16 /**< The number of words in the reserved area of the DFU settings. */
#define SETTINGS_BOOT_VALIDATION_SIZE  64 /**< The number of bytes reserved for boot_validation value. */


typedef enum
{
    NO_VALIDATION,
    VALIDATE_CRC,
    VALIDATE_SHA256,
    VALIDATE_ECDSA_P256_SHA256,
} boot_validation_type_t;

typedef struct
{
    boot_validation_type_t type;
    uint8_t                bytes[SETTINGS_BOOT_VALIDATION_SIZE];
} boot_validation_t;

/**@brief DFU settings for application and bank data.
 */
typedef struct
{
    uint32_t            crc;                /**< CRC for the stored DFU settings, not including the CRC itself. If 0xFFFFFFF, the CRC has never been calculated. */
    uint32_t            settings_version;   /**< Version of the current DFU settings struct layout. */
    uint32_t            app_version;        /**< Version of the last stored application. */
    uint32_t            bootloader_version; /**< Version of the last stored bootloader. */

    uint32_t            bank_layout;        /**< Bank layout: single bank or dual bank. This value can change. */
    uint32_t            bank_current;       /**< The bank that is currently used. */

    nrf_dfu_bank_t      bank_0;             /**< Bank 0. */
    nrf_dfu_bank_t      bank_1;             /**< Bank 1. */

    uint32_t            write_offset;       /**< Write offset for the current operation. */
    uint32_t            sd_size;            /**< Size of the SoftDevice. */

    dfu_progress_t      progress;           /**< Current DFU progress. */

    uint32_t            enter_buttonless_dfu;
    uint8_t             init_command[INIT_COMMAND_MAX_SIZE];  /**< Buffer for storing the init command. */

    uint32_t            boot_validation_crc;
    boot_validation_t   boot_validation_softdevice;
    boot_validation_t   boot_validation_app;
    boot_validation_t   boot_validation_bootloader;

    nrf_dfu_peer_data_t peer_data;          /**< Not included in calculated CRC. */
    nrf_dfu_adv_name_t  adv_name;           /**< Not included in calculated CRC. */
} nrf_dfu_settings_t;

#pragma pack() // revert pack settings

#define DFU_SETTINGS_INIT_COMMAND_OFFSET        (offsetof(nrf_dfu_settings_t, init_command))
#define DFU_SETTINGS_BOOT_VALIDATION_SIZE       ((3 * sizeof(boot_validation_t)) + 4)

#ifdef __cplusplus
}
#endif

#endif // NRF_DFU_TYPES_H__

/** @} */
```
